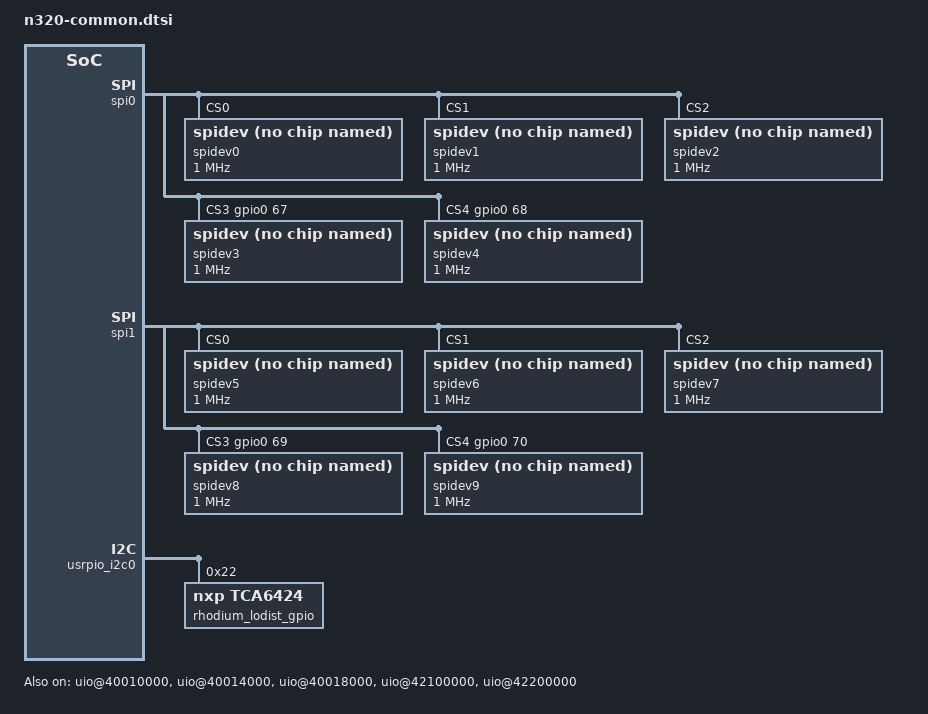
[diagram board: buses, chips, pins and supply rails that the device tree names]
// SPDX-License-Identifier: GPL-2.0 OR X11
/*
 * Copyright (c) 2018 National Instruments Corp
 */

&fpga_full {
	uio@40010000 {
		compatible = "usrp-uio";
		reg = <0x40010000 0x2000>;
		reg-names = "mboard-regs";
		status = "okay";
	};

	uio@40014000 {
		compatible = "usrp-uio";
		reg = <0x40014000 0x4000>;
		reg-names = "dboard-regs-0";
		status = "okay";
	};

	uio@40018000 {
		compatible = "usrp-uio";
		reg = <0x40018000 0x4000>;
		reg-names = "dboard-regs-1";
		status = "okay";
	};

	uio@42100000 {
		compatible = "usrp-uio";
		reg = <0x42100000 0x1000>;
		reg-names = "dboard-jtag-0";
		status = "okay";
	};

	uio@42200000 {
		compatible = "usrp-uio";
		reg = <0x42200000 0x1000>;
		reg-names = "dboard-jtag-1";
		status = "okay";
	};
};

&spi0 {
	status = "okay";

	cs-gpios = <0>, <0>, <0>, <&gpio0 67 0>, <&gpio0 68 0>;

	spidev0: spidev@0 {
		compatible = "rohm,dh2228fv";
		reg = <0>;
		status = "okay";
		spi-max-frequency = <1000000>;
	};

	spidev1: spidev@1 {
		compatible = "rohm,dh2228fv";
		reg = <1>;
		status = "okay";
		spi-max-frequency = <1000000>;
	};

	spidev2: spidev@2 {
		compatible = "rohm,dh2228fv";
		reg = <2>;
		status = "okay";
		spi-max-frequency = <1000000>;
	};

	spidev3: spidev@3 {
		compatible = "rohm,dh2228fv";
		reg = <3>;
		status = "okay";
		spi-max-frequency = <1000000>;
	};

	spidev4: spidev@4 {
		compatible = "rohm,dh2228fv";
		reg = <4>;
		status = "okay";
		spi-max-frequency = <1000000>;
	};
};

&spi1 {
	status = "okay";

	cs-gpios = <0>, <0>, <0>, <&gpio0 69 0>, <&gpio0 70 0>;

	spidev5: spidev@0 {
		compatible = "rohm,dh2228fv";
		reg = <0>;
		status = "okay";
		spi-max-frequency = <1000000>;
	};

	spidev6: spidev@1 {
		compatible = "rohm,dh2228fv";
		reg = <1>;
		status = "okay";
		spi-max-frequency = <1000000>;
	};

	spidev7: spidev@2 {
		compatible = "rohm,dh2228fv";
		reg = <2>;
		status = "okay";
		spi-max-frequency = <1000000>;
	};

	spidev8: spidev@3 {
		compatible = "rohm,dh2228fv";
		reg = <3>;
		status = "okay";
		spi-max-frequency = <1000000>;
	};

	spidev9: spidev@4 {
		compatible = "rohm,dh2228fv";
		reg = <4>;
		status = "okay";
		spi-max-frequency = <1000000>;
	};
};

&usrpio_i2c0 {
	rhodium_lodist_gpio: rhodium-lodist-gpio@22 {
		compatible = "nxp,tca6424";
		reg = <0x22>;
		gpio-controller;
		#gpio-cells = <2>;
	};
};
